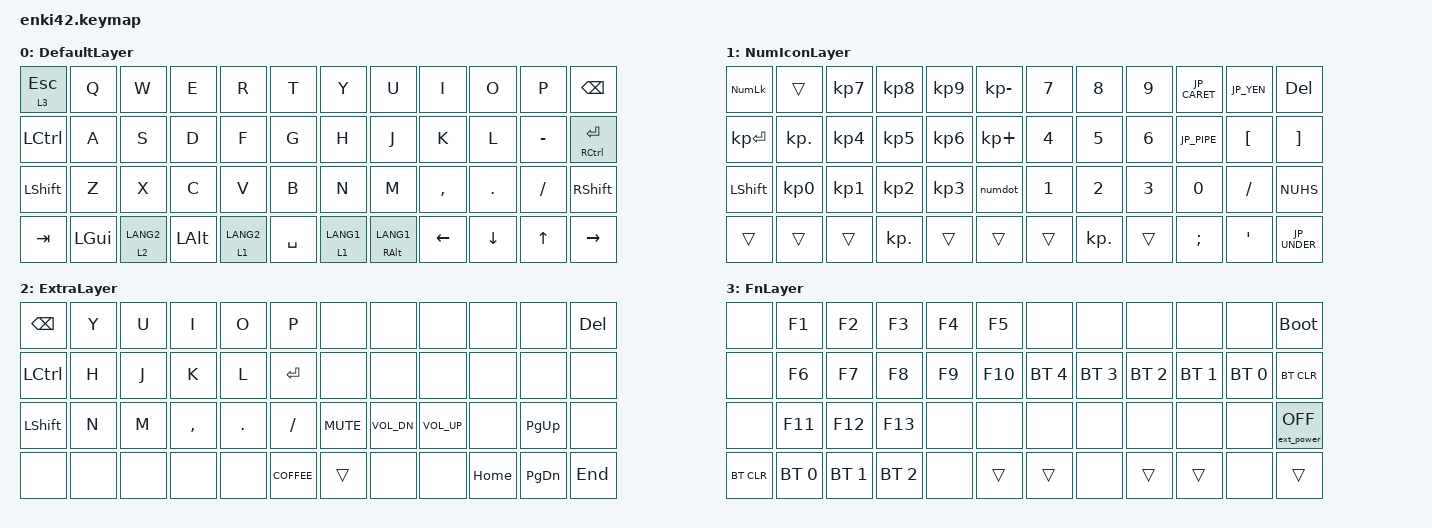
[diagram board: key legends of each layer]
/*
 * Copyright (c) 2020 The ZMK Contributors
 *
 * SPDX-License-Identifier: MIT
 */

#include "unicode.h"
#include "keycode_japanese.h"
#include <behaviors.dtsi>
#include <dt-bindings/zmk/bt.h>
#include <dt-bindings/zmk/ext_power.h>
#include <dt-bindings/zmk/keys.h>

#define DEF 0
#define LWR 1
#define RSE 2
#define ADJ 3

&lt { quick_tap_ms = <220>; };

&mt { quick_tap_ms = <220>; };

/ {
    macros {
        numdot: numdot {
            label = "ZM_numdot";
            compatible = "zmk,behavior-macro";
            #binding-cells = <0>;
            wait-ms = <40>;
            tap-ms = <40>;
            bindings =
                <&macro_press>,
                <&kp LALT>,
                <&macro_tap>,
                <&kp KP_N4 &kp KP_N6>,
                <&macro_release>,
                <&kp LALT>;
        };

        grtsgn: grtsgn {
            label = "ZM_grtsgn";
            compatible = "zmk,behavior-macro";
            #binding-cells = <0>;
            wait-ms = <40>;
            tap-ms = <40>;
            bindings =
                <&macro_press>,
                <&kp LALT>,
                <&macro_tap>,
                <&kp KP_N6 &kp KP_N2>,
                <&macro_release>,
                <&kp LALT>;
        };
    };
};

/ {
    keymap {
        compatible = "zmk,keymap";

        DefaultLayer {
            bindings = <
&lt 3 ESCAPE      &kp Q         &kp W        &kp E         &kp R        &kp T        &kp Y        &kp U               &kp I           &kp O           &kp P         &kp BACKSPACE
&kp LEFT_CONTROL  &kp A         &kp S        &kp D         &kp F        &kp G        &kp H        &kp J               &kp K           &kp L           &kp MINUS     &mt RIGHT_CONTROL RETURN
&kp LEFT_SHIFT    &kp Z         &kp X        &kp C         &kp V        &kp B        &kp N        &kp M               &kp COMMA       &kp DOT         &kp SLASH     &kp RIGHT_SHIFT
&kp TAB           &kp LEFT_GUI  &lt 2 LANG2  &kp LEFT_ALT  &lt 1 LANG2  &kp SPACE    &lt 1 LANG1  &mt RIGHT_ALT LANG1 &kp LEFT_ARROW  &kp DOWN        &kp UP        &kp RIGHT
            >;
        };

        NumIconLayer {
            bindings = <
&kp KP_NUMLOCK  &trans           &kp KP_NUMBER_7  &kp KP_NUMBER_8  &kp KP_NUMBER_9  &kp KP_MINUS    &kp N7  &kp N8      &kp N9  &kp JP_CARET  &kp JP_YEN  &kp DEL
&kp KP_ENTER    &kp KP_DOT       &kp KP_NUMBER_4  &kp KP_NUMBER_5  &kp KP_NUMBER_6  &kp KP_PLUS     &kp N4  &kp N5      &kp N6  &kp JP_PIPE   &kp LBKT    &kp RBKT
&kp LEFT_SHIFT  &kp KP_NUMBER_0  &kp KP_NUMBER_1  &kp KP_NUMBER_2  &kp KP_NUMBER_3  &numdot         &kp N1  &kp N2      &kp N3  &kp N0        &kp SLASH   &kp NUHS
&trans          &trans           &trans           &kp KP_DOT       &trans           &trans          &trans  &kp KP_DOT  &trans  &kp SEMI      &kp SQT     &kp JP_UNDER
            >;
        };

        ExtraLayer {
            bindings = <
&kp BSPC   &kp Y  &kp U  &kp I      &kp O    &kp P           &none       &none         &none         &none     &none      &kp DEL
&kp LCTRL  &kp H  &kp J  &kp K      &kp L    &kp RET         &none       &none         &none         &none     &none      &none
&kp LSHFT  &kp N  &kp M  &kp COMMA  &kp DOT  &kp FSLH        &kp C_MUTE  &kp C_VOL_DN  &kp C_VOL_UP  &none     &kp PG_UP  &none
&none      &none  &none  &none      &none    &kp K_COFFEE    &trans      &none         &none         &kp HOME  &kp PG_DN  &kp END
            >;
        };

        FnLayer {
            bindings = <
&none       &kp F1        &kp F2        &kp F3        &kp F4  &kp F5     &none         &none         &none         &none         &none         &bootloader
&none       &kp F6        &kp F7        &kp F8        &kp F9  &kp F10    &bt BT_SEL 4  &bt BT_SEL 3  &bt BT_SEL 2  &bt BT_SEL 1  &bt BT_SEL 0  &bt BT_CLR
&none       &kp F11       &kp F12       &kp F13       &none   &none      &none         &none         &none         &none         &none         &ext_power EP_OFF
&bt BT_CLR  &bt BT_SEL 0  &bt BT_SEL 1  &bt BT_SEL 2  &none   &trans     &trans        &none         &trans        &trans        &none         &trans
            >;
        };
    };
};
